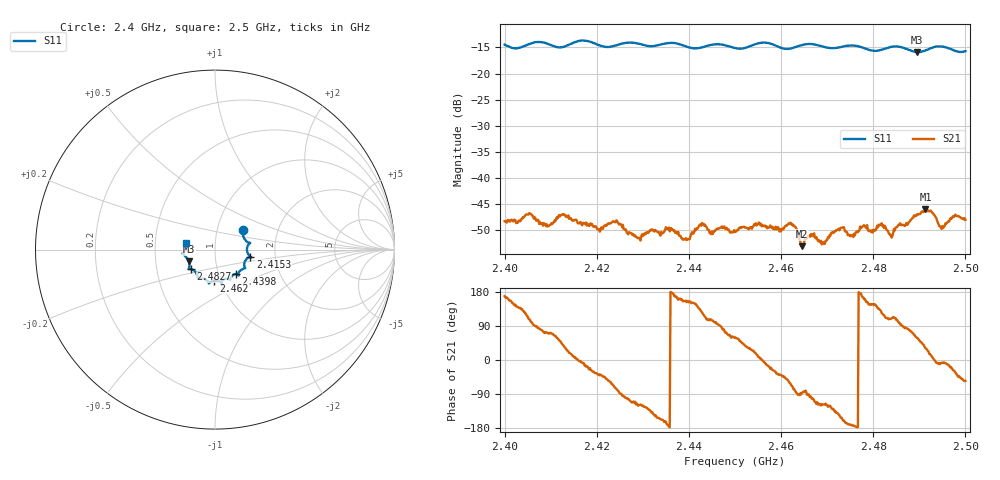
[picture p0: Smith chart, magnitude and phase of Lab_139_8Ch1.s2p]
# Hz S RI R 50
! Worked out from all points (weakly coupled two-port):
!   601 points, 2.4 GHz to 2.5 GHz, reference 50 ohm
!   highest |S21| = -45.92 dB at 2.4913 GHz (marker M1); lowest = -53.0 dB at 2.4645 GHz (marker M2)
!   lowest |S11| = -15.9 dB at 2.4895 GHz (marker M3), VSWR 1.38, Z = 37 - j5.02 ohm
!   |S11| at or under -10 dB: start of sweep to end of sweep
!   S12 and S22 are empty: the file has one direction only
!   S11 on the Smith chart (normalised r, x): 2.4 GHz: 1.33, +0.30; 2.4153 GHz: 1.48, -0.12; 2.4398 GHz: 1.21, -0.34; 2.462 GHz: 0.93, -0.33; 2.4827 GHz: 0.75, -0.17; 2.5 GHz: 0.72, +0.06
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2.4e9  0.1553 0.1074  -0.0038 0.000779  0 0  0 0
2.415333e9  0.1962 -0.0388  0.00395 0.000495  0 0  0 0
2.416667e9  0.2022 -0.0428  0.00361 -0.000418  0 0  0 0
2.420667e9  0.1786 -0.0497  0.00234 -0.002  0 0  0 0
2.424e9  0.1629 -0.0875  0.00107 -0.00363  0 0  0 0
2.429e9  0.162 -0.1057  -0.00136 -0.00229  0 0  0 0
2.433333e9  0.1306 -0.1337  -0.00272 -0.00137  0 0  0 0
2.439833e9  0.1156 -0.1359  -0.00236 0.00109  0 0  0 0
2.442667e9  0.0908 -0.1517  -0.00217 0.00276  0 0  0 0
2.45e9  0.0654 -0.1625  0.00153 0.00265  0 0  0 0
2.462e9  -0.00508 -0.1729  0.0018 -0.0033  0 0  0 0
2.4645e9  -0.0305 -0.1847  0.000131 -0.00224  0 0  0 0
2.466667e9  -0.0343 -0.1881  -0.000621 -0.00286  0 0  0 0
2.469e9  -0.0397 -0.1769  -0.00112 -0.00216  0 0  0 0
2.473e9  -0.0804 -0.16  -0.00298 -0.00157  0 0  0 0
2.475167e9  -0.0932 -0.1601  -0.0028 -0.000404  0 0  0 0
2.482667e9  -0.1351 -0.1091  -0.00127 0.00316  0 0  0 0
2.483333e9  -0.1402 -0.1088  -0.000896 0.00286  0 0  0 0
2.4895e9  -0.1458 -0.0662  0.00238 0.00384  0 0  0 0
2.491333e9  -0.161 -0.0412  0.00433 0.00262  0 0  0 0
2.494833e9  -0.1802 -0.0204  0.00324 -0.000415  0 0  0 0
2.5e9  -0.1589 0.0388  0.0023 -0.00326  0 0  0 0
